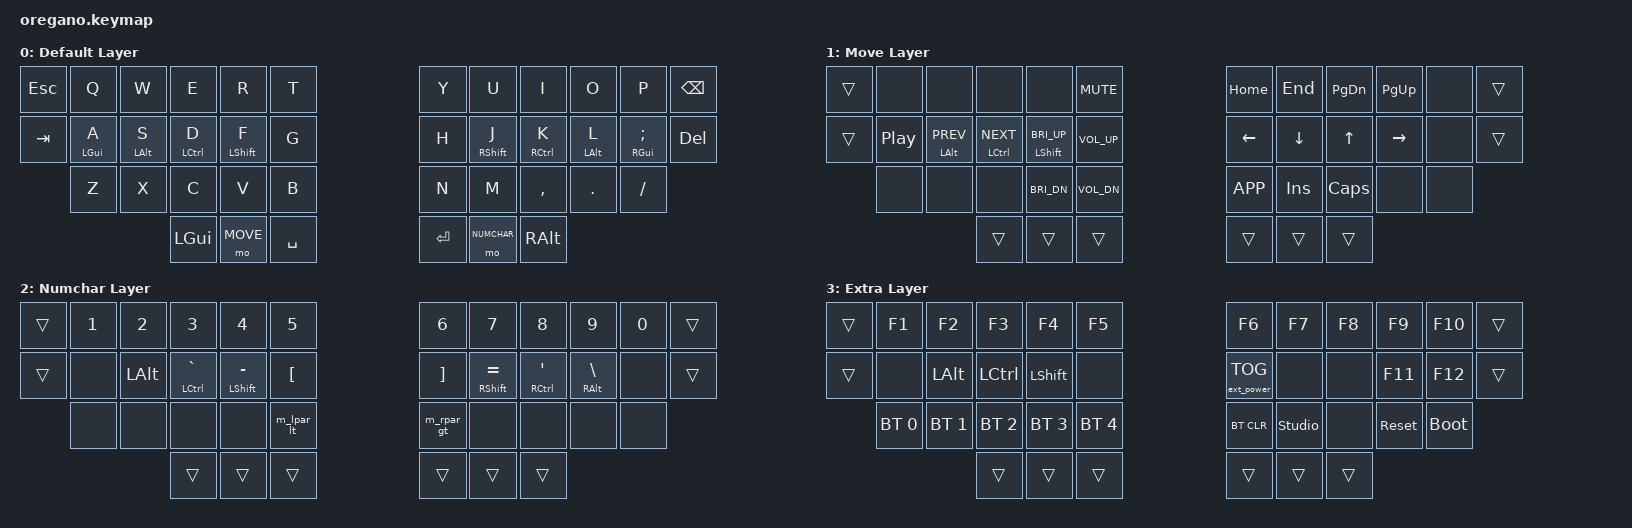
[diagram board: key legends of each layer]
#include <behaviors.dtsi>
#include <dt-bindings/zmk/keys.h>
#include <dt-bindings/zmk/bt.h>
#include <dt-bindings/zmk/ext_power.h>

#define DEFAULT 0
#define MOVE    1
#define NUMCHAR 2
#define EXTRA   3

/ {
        behaviors {
                hml: home_row_mod_left {
                        compatible = "zmk,behavior-hold-tap";
                        #binding-cells = <2>;
                        flavor = "balanced";
                        require-prior-idle-ms = <150>;
                        tapping-term-ms = <280>;
                        quick-tap-ms = <175>;
                        bindings = <&kp>, <&kp>;
                        hold-trigger-key-positions = <6 7 8 9 10 11 18 19 20 21 22 23 29 30 31 32 33 37 38 39>;
                        hold-trigger-on-release;
                };
                hmr: home_row_mod_right {
                        compatible = "zmk,behavior-hold-tap";
                        #binding-cells = <2>;
                        flavor = "balanced";
                        require-prior-idle-ms = <150>;
                        tapping-term-ms = <280>;
                        quick-tap-ms = <175>;
                        bindings = <&kp>, <&kp>;
                        hold-trigger-key-positions = <0 1 2 3 4 5 12 13 14 15 16 17 24 25 26 27 28 34 35 36>;
                        hold-trigger-on-release;
                };

                m_lpar_lt: m_lpar_lt {
                        compatible = "zmk,behavior-mod-morph";
                        #binding-cells = <0>;
                        bindings = <&kp LPAR>, <&kp LT>;
                        mods = <(MOD_LSFT|MOD_RSFT)>;
                };
                m_rpar_gt: m_rpar_gt {
                        compatible = "zmk,behavior-mod-morph";
                        #binding-cells = <0>;
                        bindings = <&kp RPAR>, <&kp GT>;
                        mods = <(MOD_LSFT|MOD_RSFT)>;
                };
        };

        combos {
                compatible = "zmk,combos";
                combo_esc {
                        timeout-ms = <50>;
                        key-positions = <2 3>;
                        bindings = <&kp ESC>;
                };
                combo_bspc {
                        timeout-ms = <50>;
                        key-positions = <8 9>;
                        bindings = <&kp BSPC>;
                };
        };

        conditional_layers {
                compatible = "zmk,conditional-layers";
                tri_layer {
                        if-layers = <MOVE NUMCHAR>;
                        then-layer = <EXTRA>;
                };
        };

        keymap {
                compatible = "zmk,keymap";

                default_layer {
                        display-name = "Default Layer";
// ╭───────┬───────┬───────┬───────┬───────┬───────╮   ╭───────┬───────┬───────┬───────┬───────┬───────╮
// │  ESC  │   Q   │   W   │   E   │   R   │   T   │   │   Y   │   U   │   I   │   O   │   P   │ BSPC  │
// ├───────┼───────┼───────┼───────┼───────┼───────┤   ├───────┼───────┼───────┼───────┼───────┼───────┤
// │  TAB  │LGUI A │LALT S │ CTRL D│ SHFT F│   G   │   │   H   │ SHFT J│ CTRL K│LALT L │RGUI ; │  DEL  │
// ╰───────┼───────┼───────┼───────┼───────┼───────┤   ├───────┼───────┼───────┼───────┼───────┼───────╯
//         │   Z   │   X   │   C   │   V   │   B   │   │   N   │   M   │   ,   │   .   │   /   │        
//         ╰───────┴───────┼───────┼───────┼───────┤   ├───────┼───────┼───────┼───────┴───────╯        
//                         │  GUI  │ MOVE  │ SPACE │   │ ENTER │NUMCHAR│ RALT  │                        
//                         ╰───────┴───────┴───────╯   ╰───────┴───────┴───────╯                        
                        bindings = <
   &kp ESC   &kp Q        &kp W            &kp E             &kp R                &kp T                &kp Y             &kp U             &kp I           &kp O           &kp P           &kp BSPC
   &kp TAB   &hml LGUI A  &hml LALT S      &hml LCTRL D      &hml LSHIFT F        &kp G                &kp H             &hmr RSHIFT J     &hmr RCTRL K    &hmr LALT L     &hmr RGUI SEMI  &kp DEL
             &kp Z        &kp X            &kp C             &kp V                &kp B                &kp N             &kp M             &kp COMMA       &kp DOT         &kp FSLH        
                                           &kp LGUI          &mo MOVE             &kp SPACE            &kp RET           &mo NUMCHAR       &kp RALT
                        >;
                };
                move_layer {
                        display-name = "Move Layer";
// ╭───────┬───────┬───────┬───────┬───────┬───────╮   ╭───────┬───────┬───────┬───────┬───────┬───────╮
// │ trans │ none  │ none  │ none  │ none  │ MUTE  │   │ HOME  │  END  │ PG DN │ PG UP │ none  │ trans │
// ├───────┼───────┼───────┼───────┼───────┼───────┤   ├───────┼───────┼───────┼───────┼───────┼───────┤
// │ trans │ PLAY  │ALT PRV│CTL NXT│SFT BRU│ VOL U │   │ LEFT  │ DOWN  │  UP   │ RIGHT │ none  │ trans │
// ╰───────┼───────┼───────┼───────┼───────┼───────┤   ├───────┼───────┼───────┼───────┼───────┼───────╯
//         │ none  │ none  │ none  │ BRI D │ VOL D │   │  APP  │  INS  │ CAPS  │ none  │ none  │        
//         ╰───────┴───────┼───────┼───────┼───────┤   ├───────┼───────┼───────┼───────┴───────╯        
//                         │ trans │ trans │ trans │   │ trans │ trans │ trans │                        
//                         ╰───────┴───────┴───────╯   ╰───────┴───────┴───────╯                        
                        bindings = <
   &trans    &none        &none            &none             &none                &kp C_MUTE           &kp HOME          &kp END           &kp PG_DN       &kp PG_UP       &none           &trans
   &trans    &kp C_PP     &hml LALT C_PREV &hml LCTRL C_NEXT &hml LSHIFT C_BRI_UP &kp C_VOL_UP         &kp LEFT          &kp DOWN          &kp UP          &kp RIGHT       &none           &trans
             &none        &none            &none             &kp C_BRI_DN         &kp C_VOL_DN         &kp K_APP         &kp INS           &kp CAPS        &none           &none          
                                           &trans            &trans               &trans               &trans            &trans            &trans
                        >;
                };

                numchar_layer {
                        display-name = "Numchar Layer";
// ╭───────┬───────┬───────┬───────┬───────┬───────╮   ╭───────┬───────┬───────┬───────┬───────┬───────╮
// │ trans │   1   │   2   │   3   │   4   │   5   │   │   6   │   7   │   8   │   9   │   0   │ trans │
// ├───────┼───────┼───────┼───────┼───────┼───────┤   ├───────┼───────┼───────┼───────┼───────┼───────┤
// │ trans │ none  │  ALT  │CTL  ` │SFT  - │   [   │   │   ]   │SFT  = │CTL  ' │ALT  \ │ none  │ trans │
// ╰───────┼───────┼───────┼───────┼───────┼───────┤   ├───────┼───────┼───────┼───────┼───────┼───────╯
//         │ none  │ none  │ none  │ none  │  ( <  │   │  ) >  │ none  │ none  │ none  │ none  │        
//         ╰───────┴───────┼───────┼───────┼───────┤   ├───────┼───────┼───────┼───────┴───────╯        
//                         │ trans │ trans │ trans │   │ trans │ trans │ trans │                        
//                         ╰───────┴───────┴───────╯   ╰───────┴───────┴───────╯                        
                        bindings = <
   &trans    &kp N1       &kp N2           &kp N3            &kp N4               &kp N5               &kp N6            &kp N7            &kp N8          &kp N9          &kp N0          &trans
   &trans    &none        &kp LALT         &hml LCTRL GRAVE  &hml LSHIFT MINUS    &kp LBKT             &kp RBKT          &hmr RSHIFT EQUAL &hmr RCTRL SQT  &hmr RALT BSLH  &none           &trans
             &none        &none            &none             &none                &m_lpar_lt           &m_rpar_gt        &none             &none           &none           &none          
                                           &trans            &trans               &trans               &trans            &trans            &trans
                        >;
                };

                extra_layer {
                        display-name = "Extra Layer";
// ╭───────┬───────┬───────┬───────┬───────┬───────╮   ╭───────┬───────┬───────┬───────┬───────┬───────╮
// │ trans │  F1   │  F2   │  F3   │  F4   │  F5   │   │  F6   │  F7   │  F8   │  F9   │  F10  │ trans │
// ├───────┼───────┼───────┼───────┼───────┼───────┤   ├───────┼───────┼───────┼───────┼───────┼───────┤
// │ trans │ none  │  ALT  │ CTRL  │ SHFT  │ none  │   │ EP TG │ none  │ none  │  F11  │  F12  │ trans │
// ╰───────┼───────┼───────┼───────┼───────┼───────┤   ├───────┼───────┼───────┼───────┼───────┼───────╯
//         │ BT 1  │ BT 2  │ BT 3  │ BT 4  │ BT 5  │   │BT CLR │ZMK STU│ none  │SYS RES│ BOOT  │        
//         ╰───────┴───────┼───────┼───────┼───────┤   ├───────┼───────┼───────┼───────┴───────╯        
//                         │ trans │ trans │ trans │   │ trans │ trans │ trans │                        
//                         ╰───────┴───────┴───────╯   ╰───────┴───────┴───────╯                        
                        bindings = <
   &trans    &kp F1       &kp F2           &kp F3            &kp F4               &kp F5               &kp F6            &kp F7            &kp F8          &kp F9          &kp F10         &trans
   &trans    &none        &kp LALT         &kp LCTRL         &kp LSHIFT           &none                &ext_power EP_TOG &none             &none           &kp F11         &kp F12         &trans
             &bt BT_SEL 0 &bt BT_SEL 1     &bt BT_SEL 2      &bt BT_SEL 3         &bt BT_SEL 4         &bt BT_CLR        &studio_unlock    &none           &sys_reset      &bootloader          
                                           &trans            &trans               &trans               &trans            &trans            &trans
                        >;
                };
        };
};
